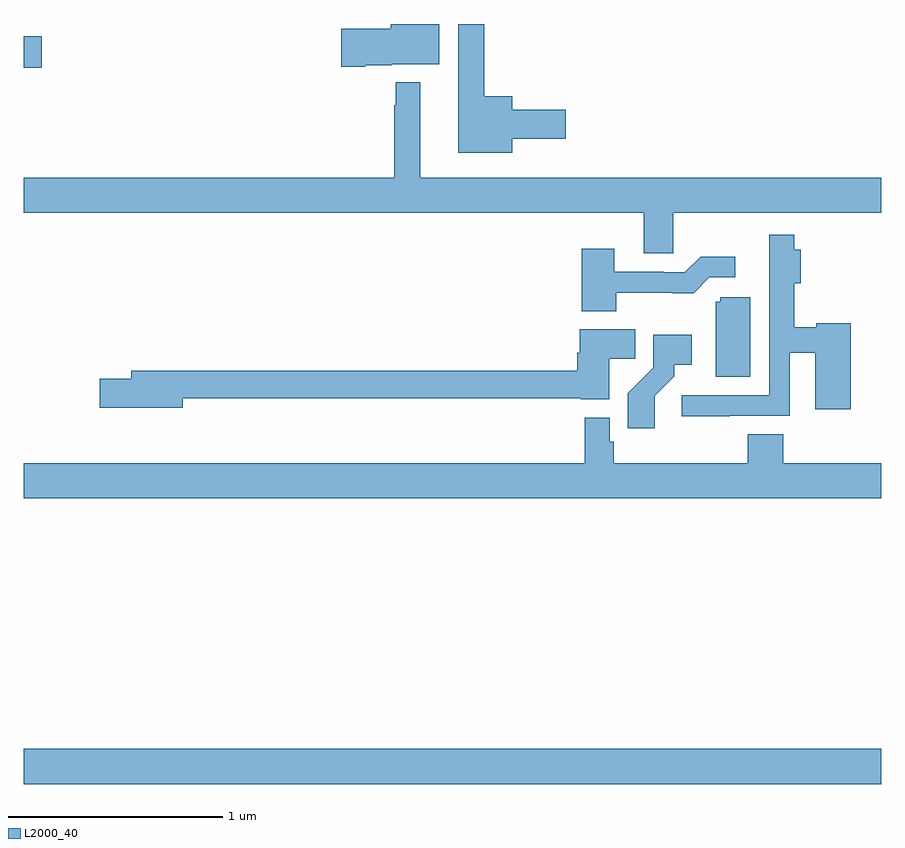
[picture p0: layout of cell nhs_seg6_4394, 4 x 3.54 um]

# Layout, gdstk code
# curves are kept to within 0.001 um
import gdstk
lib = gdstk.Library(unit=1e-6, precision=1e-09)
def R(c, l, rs):  # rectangles x0, y0, x1, y1
    for r in rs: c.add(gdstk.rectangle(r[:2], r[2:], *l))
def P(c, l, *ps):  # polygons
    for p in ps: c.add(gdstk.Polygon(p, *l))
L2000_40 = (2000, 40)

nhs_seg6_4394 = lib.new_cell('nhs_seg6_4394')
R(nhs_seg6_4394, L2000_40, [(369,993.956,373,994.12), (369,997.295,369.085,997.442)])
P(nhs_seg6_4394, L2000_40, [(370.594,997.307),(370.716,997.307),(370.716,997.313),(370.939,997.313),(370.939,997.5),(370.712,997.5),(370.712,997.479),(370.482,997.479),(370.482,997.301),(370.594,997.301)],
  [(371.278,996.965),(371.527,996.965),(371.527,997.1),(371.278,997.1),(371.278,997.162),(371.149,997.162),(371.149,997.5),(371.027,997.5),(371.027,996.899),(371.278,996.899)],
  [(372.03,996.62),(373,996.62),(373,996.784),(370.849,996.784),(370.849,997.228),(370.735,997.228),(370.735,997.121),(370.728,997.121),(370.728,996.784),(369,996.784),(369,996.62),(371.891,996.62),(371.891,996.43),(372.03,996.43)],
  [(372.293,995.673),(372.573,995.673),(372.573,995.968),(372.692,995.968),(372.692,995.703),(372.858,995.703),(372.858,996.104),(372.696,996.104),(372.696,996.086),(372.593,996.086),(372.593,996.29),(372.623,996.29),(372.623,996.448),(372.593,996.448),(372.593,996.517),(372.476,996.517),(372.476,996.294),(372.477,996.294),(372.477,995.769),(372.069,995.769),(372.069,995.671),(372.293,995.671)],
  [(371.763,996.246),(372.125,996.245),(372.198,996.318),(372.319,996.318),(372.319,996.415),(372.157,996.415),(372.084,996.342),(371.984,996.342),(371.984,996.345),(371.755,996.345),(371.755,996.451),(371.603,996.451),(371.603,996.161),(371.763,996.161)],
  [(372.388,996.225),(372.249,996.225),(372.249,996.204),(372.227,996.204),(372.227,995.856),(372.388,995.856)],
  [(369.742,995.754),(371.598,995.754),(371.598,995.75),(371.731,995.75),(371.731,995.938),(371.852,995.938),(371.852,996.076),(371.594,996.076),(371.594,995.966),(371.582,995.966),(371.582,995.882),(369.503,995.882),(369.503,995.846),(369.354,995.846),(369.354,995.711),(369.742,995.711)],
  [(371.944,995.767),(372.034,995.857),(372.034,995.912),(372.115,995.912),(372.115,996.052),(371.937,996.052),(371.937,995.897),(371.818,995.778),(371.818,995.616),(371.944,995.616)],
  [(373,995.452),(372.542,995.452),(372.542,995.588),(372.377,995.588),(372.377,995.452),(371.753,995.452),(371.753,995.553),(371.733,995.553),(371.733,995.665),(371.617,995.665),(371.617,995.452),(369,995.452),(369,995.288),(373,995.288)])

lib.write_gds('nhs_seg6_4394.gds')
